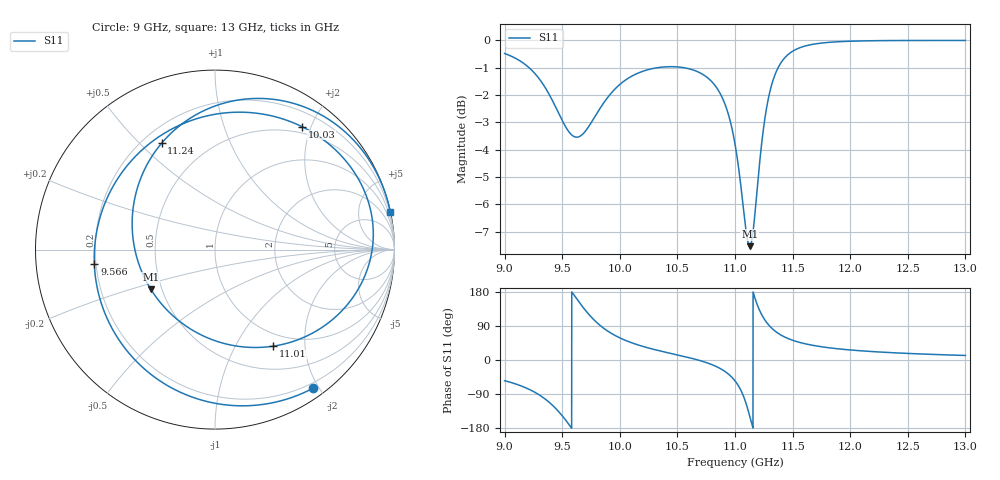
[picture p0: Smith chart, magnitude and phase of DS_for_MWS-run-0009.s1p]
! TOUCHSTONE file generated by CST DESIGN STUDIO
! Date and time: Wed Feb  5 13:36:19 2025
! Project name: C:\Work\MatlabApps\UnitCellOptimizationMatlab\CST\unitcell.cst
! Tree item: Tasks\Sweep1\SPara1\S-Parameters
! Header version: 2024
! Port assignment regex: !\s*Touchstone port\s*([0-9]+)\s*=\s*(CST MWS port|CST DES external port|CST DES block port)\s*(.+)\s* \(\"(.*)\"\)(\s*mode\s*([0-9]+))?.*
! Touchstone port assignment:
! Touchstone port 1 = CST DES external port 1 ("")
# GHz S MA R 50
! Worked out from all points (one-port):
!   4001 points, 9 GHz to 13 GHz, reference 50 ohm
!   lowest |S11| = -7.5 dB at 11.13 GHz (marker M1), VSWR 2.45, Z = 21.8 - j11.7 ohm
!   |S11| at or under -10 dB: nowhere
!   S11 on the Smith chart (normalised r, x): 9 GHz: 0.13, -1.93; 9.566 GHz: 0.19, -0.06; 10.03 GHz: 0.40, +1.86; 11.01 GHz: 0.81, -1.44; 11.24 GHz: 0.28, +0.58; 13 GHz: 0.03, +9.55
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9  0.946 -54.6
9.16  0.9092 -70.4
9.311  0.8446 -94.2
9.408  0.7812 -117.3
9.5  0.7137 -147.1
9.566  0.6771 -173.2
9.652  0.6674 150.6
9.765  0.7144 109.2
9.866  0.7715 82.5
10  0.8304 58.4
10.026  0.839 54.8
10.232  0.8822 33.1
10.5  0.894 13.4
10.823  0.8287 -15.2
10.921  0.7564 -32.0
11  0.6463 -55.0
11.01  0.6277 -59.0
11.073  0.4929 -95.0
11.128  0.4204 -148.3
11.179  0.497 157.8
11.237  0.663 116.7
11.281  0.7663 96.6
11.331  0.8463 80.6
11.5  0.955 52.1
11.695  0.9848 37.6
12  0.9961 26.5
12.5  0.9993 17.3
13  0.9994 12.0
